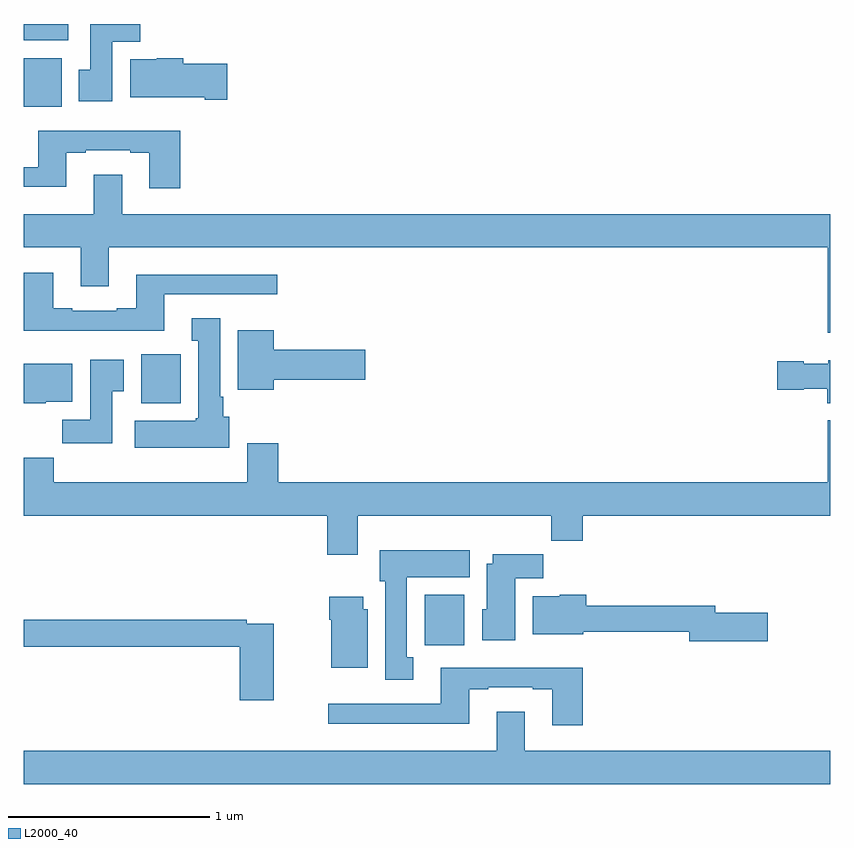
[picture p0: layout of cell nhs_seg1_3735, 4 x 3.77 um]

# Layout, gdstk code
import gdstk
lib = gdstk.Library(unit=1e-6, precision=1e-09)
def R(c, l, rs):  # rectangles x0, y0, x1, y1
    for r in rs: c.add(gdstk.rectangle(r[:2], r[2:], *l))
def P(c, l, *ps):  # polygons
    for p in ps: c.add(gdstk.Polygon(p, *l))
L2000_40 = (2000, 40)

nhs_seg1_3735 = lib.new_cell('nhs_seg1_3735')
R(nhs_seg1_3735, L2000_40, [(316.989,523.116,317.185,523.366), (315.581,524.318,315.778,524.56), (315,525.788,315.187,526.03), (315,526.118,315.22,526.199)])
P(nhs_seg1_3735, L2000_40, [(315.439,526.112),(315.578,526.112),(315.578,526.199),(315.329,526.199),(315.329,525.972),(315.272,525.972),(315.272,525.816),(315.439,525.816)],
  [(316.009,526.002),(315.791,526.002),(315.791,526.03),(315.66,526.03),(315.66,526.024),(315.527,526.024),(315.527,525.836),(315.896,525.836),(315.896,525.824),(316.009,525.824)],
  [(315.776,525.67),(315.071,525.67),(315.071,525.489),(315,525.489),(315,525.392),(315.211,525.392),(315.211,525.561),(315.307,525.561),(315.307,525.573),(315.527,525.573),(315.527,525.561),(315.623,525.561),(315.623,525.384),(315.776,525.384)],
  [(319,525.256),(315.487,525.256),(315.487,525.451),(315.347,525.451),(315.347,525.256),(315,525.256),(315,525.092),(315.281,525.092),(315.281,524.898),(315.421,524.898),(315.421,525.092),(318.989,525.092),(318.989,524.667),(319,524.667)],
  [(315.697,524.859),(316.258,524.859),(316.258,524.956),(315.557,524.956),(315.557,524.788),(315.461,524.788),(315.461,524.775),(315.241,524.775),(315.241,524.788),(315.145,524.788),(315.145,524.965),(315,524.965),(315,524.678),(315.697,524.678)],
  [(316.018,524.25),(315.988,524.25),(315.988,524.35),(315.973,524.35),(315.973,524.74),(315.833,524.74),(315.833,524.627),(315.866,524.627),(315.866,524.244),(315.853,524.244),(315.853,524.23),(315.549,524.23),(315.549,524.096),(316.018,524.096)],
  [(316.24,524.435),(316.693,524.435),(316.693,524.582),(316.24,524.582),(316.24,524.68),(316.061,524.68),(316.061,524.384),(316.24,524.384)],
  [(315.439,524.377),(315.496,524.377),(315.496,524.533),(315.329,524.533),(315.329,524.236),(315.19,524.236),(315.19,524.118),(315.439,524.118)],
  [(319,524.53),(318.99,524.53),(318.99,524.512),(318.87,524.512),(318.87,524.525),(318.738,524.525),(318.738,524.383),(318.87,524.383),(318.87,524.39),(318.986,524.39),(318.986,524.318),(319,524.318)],
  [(315.108,524.324),(315.241,524.324),(315.241,524.512),(315,524.512),(315,524.318),(315.108,524.318)],
  [(316.657,523.76),(317.617,523.76),(317.617,523.636),(317.774,523.636),(317.774,523.76),(319,523.76),(319,524.233),(318.989,524.233),(318.989,523.924),(316.262,523.924),(316.262,524.119),(316.109,524.119),(316.109,523.924),(315.149,523.924),(315.149,524.048),(315,524.048),(315,523.76),(316.505,523.76),(316.505,523.566),(316.657,523.566)],
  [(316.933,523.057),(316.9,523.057),(316.9,523.454),(317.212,523.454),(317.212,523.588),(316.766,523.588),(316.766,523.434),(316.793,523.434),(316.793,522.945),(316.933,522.945)],
  [(317.437,523.448),(317.576,523.448),(317.576,523.567),(317.327,523.567),(317.327,523.522),(317.297,523.522),(317.297,523.296),(317.273,523.296),(317.273,523.142),(317.437,523.142)],
  [(318.691,523.278),(318.43,523.278),(318.43,523.312),(317.789,523.312),(317.789,523.366),(317.658,523.366),(317.658,523.36),(317.525,523.36),(317.525,523.172),(317.776,523.172),(317.776,523.183),(318.302,523.183),(318.302,523.136),(318.691,523.136)],
  [(316.705,523.296),(316.684,523.296),(316.684,523.357),(316.514,523.357),(316.514,523.244),(316.526,523.244),(316.526,523.004),(316.705,523.004)],
  [(316.24,523.224),(316.106,523.224),(316.106,523.244),(315,523.244),(315,523.108),(316.07,523.108),(316.07,522.843),(316.24,522.843)],
  [(317.774,523.006),(317.069,523.006),(317.069,522.825),(316.509,522.825),(316.509,522.728),(317.209,522.728),(317.209,522.897),(317.305,522.897),(317.305,522.909),(317.525,522.909),(317.525,522.897),(317.621,522.897),(317.621,522.72),(317.774,522.72)],
  [(319,522.592),(317.485,522.592),(317.485,522.787),(317.345,522.787),(317.345,522.592),(315,522.592),(315,522.428),(319,522.428)])

lib.write_gds('nhs_seg1_3735.gds')
